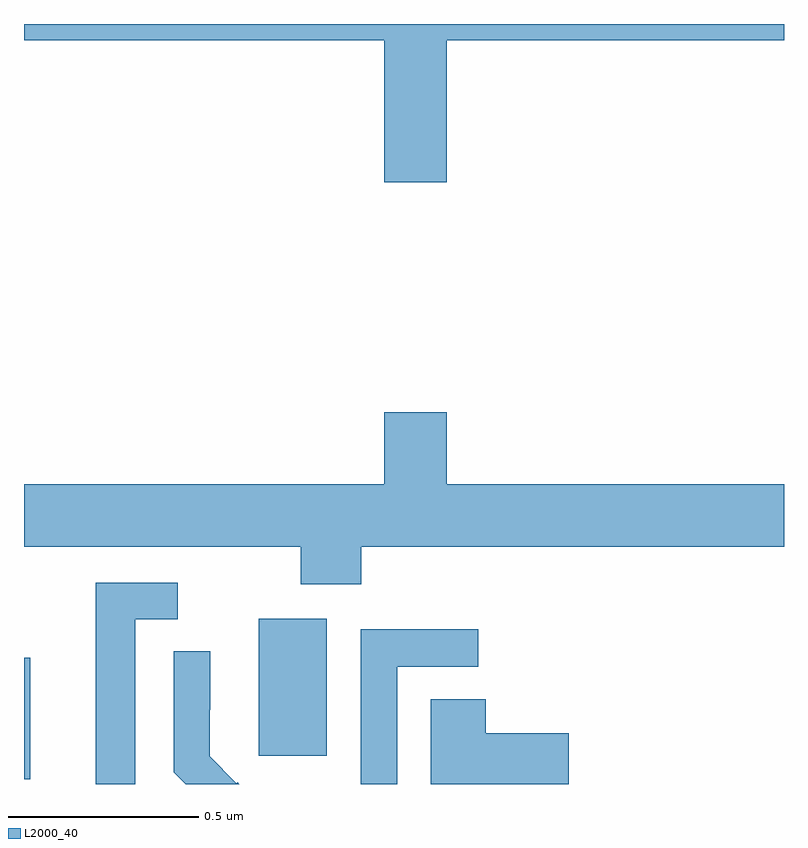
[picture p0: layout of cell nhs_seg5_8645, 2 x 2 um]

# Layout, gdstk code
import gdstk
lib = gdstk.Library(unit=1e-6, precision=1e-09)
def R(c, l, rs):  # rectangles x0, y0, x1, y1
    for r in rs: c.add(gdstk.rectangle(r[:2], r[2:], *l))
def P(c, l, *ps):  # polygons
    for p in ps: c.add(gdstk.Polygon(p, *l))
L2000_40 = (2000, 40)

nhs_seg5_8645 = lib.new_cell('nhs_seg5_8645')
R(nhs_seg5_8645, L2000_40, [(224,858.811,224.017,859.131), (224.618,858.873,224.797,859.234)])
P(nhs_seg5_8645, L2000_40, [(225.112,860.756),(226,860.756),(226,860.799),(224,860.799),(224,860.756),(224.948,860.756),(224.948,860.382),(225.112,860.382)],
  [(224.888,859.424),(226,859.424),(226,859.588),(225.112,859.588),(225.112,859.777),(224.948,859.777),(224.948,859.588),(224,859.588),(224,859.424),(224.728,859.424),(224.728,859.325),(224.888,859.325)],
  [(224.293,859.233),(224.404,859.233),(224.404,859.329),(224.189,859.329),(224.189,858.799),(224.293,858.799)],
  [(224.982,859.107),(225.196,859.107),(225.196,859.206),(224.886,859.206),(224.886,858.799),(224.982,858.799)],
  [(224.562,858.804),(224.559,858.801),(224.489,858.872),(224.489,858.994),(224.49,858.994),(224.49,859.148),(224.394,859.148),(224.394,858.83),(224.425,858.799),(224.567,858.799)],
  [(225.433,858.932),(225.215,858.932),(225.215,859.022),(225.071,859.022),(225.071,858.799),(225.433,858.799)])

lib.write_gds('nhs_seg5_8645.gds')
